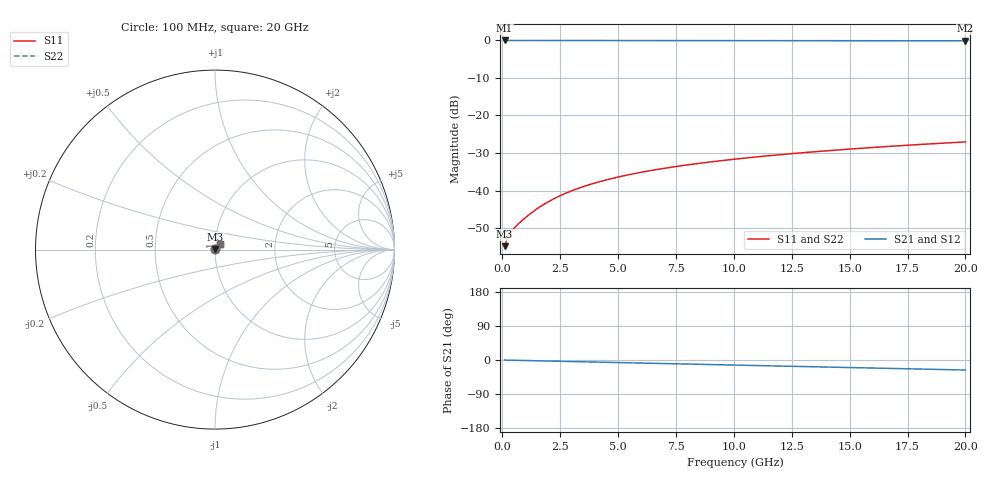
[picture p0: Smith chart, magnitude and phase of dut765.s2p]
! Touchstone file exported from HFSS 2026.1.0
!  File:  C:/ffzhzh/LocalFiles/Ansys_Project_Files/temp_train_BSMRDL_765_1783169087_18472.aedt
!  Generated:  08:45:53 PM Jul  4, 2026
!  Design:  BSMRDL
!  Project:  temp_train_BSMRDL_765_1783169087_18472
! Variables:
!  h_bsmrdl = 4.23um
!  h_ox = 20um
!  h_rdl = 5um
!  h_sub = 80um
!  h_tmrdl = 5um
!  h_tsv = 80um
!  h_via = 3um
!  l_bsmrdl = 458.63um
!  l_sub = 858.63um
!  l_tmrdl = 200um
!  m_sub = 200um
!  pitch = 33.71um
!  r_tsv = 6um
!  s_tmrdl = 10um
!  w_bsmrdl = 27.3um
!  w_sub = 500um
!  w_tmrdl = 12um
!  x_tsv_center1 = 206um
!  x_tsv_center2 = 691.93um
!  x_tsv_center3 = 903.93um
!  x_tsv_center4 = 1389.86um
!  x_tsv_center5 = 1601.86um
!  x_tsv_center6 = 2087.79um
# GHz S MA R 50.000000
! Terminal data exported
! Port[1] = BSM_RDL1_1_T1
! Port[2] = BSM_RDL1_1_T2
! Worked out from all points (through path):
!   200 points, 100 MHz to 20 GHz, reference 50 ohm
!   highest |S21| = -0.01 dB at 100 MHz (marker M1); lowest = -0.1 dB at 20 GHz (marker M2)
!   group delay of S21, straight-line fit = 3.65 ps
!   lowest |S11| = -54.8 dB at 100 MHz (marker M3), VSWR 1.00, Z = 50.2 + j0.0662 ohm
!   |S11| at or under -10 dB: start of sweep to end of sweep
!   |S22| runs from -54.8 to -27.0 dB; largest |S21 - S12| = 3.3e-15
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0.1  0.001816 21.3  0.9983 -0.2  0.9983 -0.2  0.001816 21.3
! Gamma 0 0 0 0
! Port Impedance 50 0 50 0
0.2  0.002249 30.0  0.9981 -0.3  0.9981 -0.3  0.002249 30.0
0.3  0.002602 33.8  0.9978 -0.4  0.9978 -0.4  0.002601 33.8
0.4  0.002883 36.7  0.9977 -0.6  0.9977 -0.6  0.002881 36.7
0.6  0.003368 42.2  0.9975 -0.8  0.9975 -0.8  0.003366 42.2
0.8  0.00385 47.0  0.9973 -1.1  0.9973 -1.1  0.003849 47.0
1  0.004357 51.0  0.9973 -1.4  0.9973 -1.4  0.004356 51.0
1.3  0.00516 55.4  0.9971 -1.8  0.9971 -1.8  0.00516 55.4
1.8  0.00656 59.9  0.9969 -2.5  0.9969 -2.5  0.006561 59.9
2.3  0.007978 62.2  0.9966 -3.2  0.9966 -3.2  0.007978 62.2
2.9  0.009656 63.5  0.9963 -4.0  0.9963 -4.0  0.009657 63.5
3.5  0.01129 64.0  0.9959 -4.8  0.9959 -4.8  0.01129 64.0
4.2  0.01312 63.9  0.9954 -5.7  0.9954 -5.7  0.01312 63.9
5  0.01513 63.5  0.9948 -6.8  0.9948 -6.8  0.01513 63.5
5.9  0.01729 62.8  0.9942 -8.0  0.9942 -8.0  0.01729 62.8
6.8  0.01934 62.0  0.9936 -9.2  0.9936 -9.2  0.01934 62.0
8.3  0.0226 60.6  0.9926 -11.1  0.9926 -11.1  0.0226 60.6
10.1  0.02631 58.9  0.9917 -13.5  0.9917 -13.5  0.02631 58.9
11.7  0.02947 57.4  0.9909 -15.6  0.9909 -15.6  0.02946 57.4
13.4  0.03271 55.7  0.9901 -17.8  0.9901 -17.8  0.03271 55.8
16.7  0.03874 52.4  0.9887 -22.1  0.9887 -22.1  0.03874 52.4
20  0.04442 48.9  0.9875 -26.4  0.9875 -26.4  0.04442 49.0
